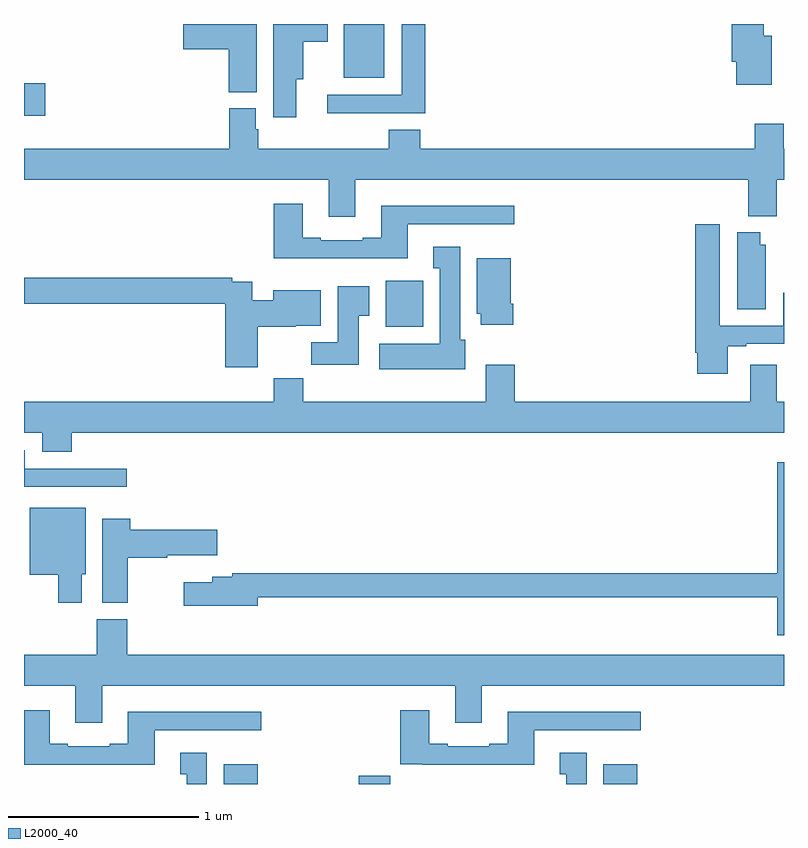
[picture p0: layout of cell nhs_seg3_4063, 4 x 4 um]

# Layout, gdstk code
import gdstk
lib = gdstk.Library(unit=1e-6, precision=1e-09)
def R(c, l, rs):  # rectangles x0, y0, x1, y1
    for r in rs: c.add(gdstk.rectangle(r[:2], r[2:], *l))
def P(c, l, *ps):  # polygons
    for p in ps: c.add(gdstk.Polygon(p, *l))
L2000_40 = (2000, 40)

nhs_seg3_4063 = lib.new_cell('nhs_seg3_4063')
R(nhs_seg3_4063, L2000_40, [(326.051,700.4,326.23,700.504), (326.762,700.4,326.927,700.444), (328.049,700.4,328.228,700.504), (326.903,702.806,327.1,703.048), (325,703.916,325.111,704.087), (326.684,704.117,326.896,704.4)])
P(nhs_seg3_4063, L2000_40, [(327.113,704.4),(326.987,704.4),(326.987,704.028),(326.595,704.028),(326.595,703.931),(327.113,703.931)],
  [(326.434,704.108),(326.47,704.108),(326.47,704.306),(326.599,704.306),(326.599,704.4),(326.312,704.4),(326.312,703.908),(326.434,703.908)],
  [(326.224,704.4),(325.838,704.4),(325.838,704.267),(326.078,704.267),(326.078,704.041),(326.224,704.041)],
  [(328.936,704.338),(328.894,704.338),(328.894,704.4),(328.724,704.4),(328.724,704.202),(328.748,704.202),(328.748,704.081),(328.936,704.081)],
  [(326.743,703.58),(328.811,703.58),(328.811,703.388),(328.963,703.388),(328.963,703.58),(329,703.58),(329,703.744),(328.998,703.744),(328.998,703.876),(328.847,703.876),(328.847,703.744),(327.086,703.744),(327.086,703.843),(326.921,703.843),(326.921,703.744),(326.234,703.744),(326.234,703.845),(326.221,703.845),(326.221,703.956),(326.081,703.956),(326.081,703.744),(325,703.744),(325,703.58),(326.603,703.58),(326.603,703.386),(326.743,703.386)],
  [(327.019,703.347),(327.58,703.347),(327.58,703.444),(326.879,703.444),(326.879,703.276),(326.783,703.276),(326.783,703.263),(326.563,703.263),(326.563,703.276),(326.467,703.276),(326.467,703.453),(326.315,703.453),(326.315,703.166),(327.019,703.166)],
  [(328.705,702.705),(328.801,702.705),(328.801,702.717),(329,702.717),(329,702.985),(328.997,702.985),(328.997,702.813),(328.663,702.813),(328.663,703.345),(328.532,703.345),(328.532,702.67),(328.544,702.67),(328.544,702.558),(328.705,702.558)],
  [(328.903,703.239),(328.876,703.239),(328.876,703.303),(328.754,703.303),(328.754,702.898),(328.903,702.898)],
  [(327.322,702.738),(327.295,702.738),(327.295,703.228),(327.155,703.228),(327.155,703.115),(327.188,703.115),(327.188,702.718),(326.871,702.718),(326.871,702.584),(327.322,702.584)],
  [(327.575,702.928),(327.562,702.928),(327.562,703.168),(327.383,703.168),(327.383,702.876),(327.404,702.876),(327.404,702.816),(327.575,702.816)],
  [(326.23,702.806),(326.43,702.806),(326.43,702.812),(326.563,702.812),(326.563,703),(326.312,703),(326.312,702.946),(326.2,702.946),(326.2,703.044),(326.096,703.044),(326.096,703.064),(325,703.064),(325,702.928),(326.06,702.928),(326.06,702.594),(326.23,702.594)],
  [(326.761,702.865),(326.818,702.865),(326.818,703.021),(326.651,703.021),(326.651,702.724),(326.512,702.724),(326.512,702.606),(326.761,702.606)],
  [(325.25,702.248),(329,702.248),(329,702.412),(328.963,702.412),(328.963,702.607),(328.823,702.607),(328.823,702.412),(327.584,702.412),(327.584,702.607),(327.431,702.607),(327.431,702.412),(326.471,702.412),(326.471,702.536),(326.315,702.536),(326.315,702.412),(325,702.412),(325,702.248),(325.097,702.248),(325.097,702.149),(325.25,702.149)],
  [(325.54,702.06),(325.005,702.06),(325.005,702.156),(325,702.156),(325,701.964),(325.54,701.964)],
  [(329,702.094),(328.964,702.094),(328.964,701.51),(326.095,701.51),(326.095,701.491),(325.991,701.491),(325.991,701.461),(325.842,701.461),(325.842,701.339),(326.23,701.339),(326.23,701.382),(328.964,701.382),(328.964,701.184),(329,701.184)],
  [(325.303,701.505),(325.324,701.505),(325.324,701.854),(325.031,701.854),(325.031,701.501),(325.181,701.501),(325.181,701.355),(325.303,701.355)],
  [(325.546,701.591),(325.754,701.591),(325.754,701.603),(326.017,701.603),(326.017,701.738),(325.559,701.738),(325.559,701.797),(325.412,701.797),(325.412,701.353),(325.546,701.353)],
  [(325.411,700.916),(327.269,700.916),(327.269,700.722),(327.409,700.722),(327.409,700.916),(329,700.916),(329,701.08),(325.544,701.08),(325.544,701.268),(325.384,701.268),(325.384,701.08),(325,701.08),(325,700.916),(325.271,700.916),(325.271,700.722),(325.411,700.722)],
  [(325.687,700.683),(326.248,700.683),(326.248,700.78),(325.547,700.78),(325.547,700.612),(325.451,700.612),(325.451,700.599),(325.231,700.599),(325.231,700.612),(325.135,700.612),(325.135,700.789),(325,700.789),(325,700.502),(325.687,700.502)],
  [(327.685,700.683),(328.246,700.683),(328.246,700.78),(327.545,700.78),(327.545,700.612),(327.449,700.612),(327.449,700.599),(327.229,700.599),(327.229,700.612),(327.133,700.612),(327.133,700.789),(326.981,700.789),(326.981,700.503),(327.097,700.503),(327.097,700.502),(327.685,700.502)],
  [(327.961,700.564),(327.821,700.564),(327.821,700.451),(327.854,700.451),(327.854,700.4),(327.961,700.4)],
  [(325.963,700.564),(325.823,700.564),(325.823,700.451),(325.856,700.451),(325.856,700.4),(325.963,700.4)])

lib.write_gds('nhs_seg3_4063.gds')
